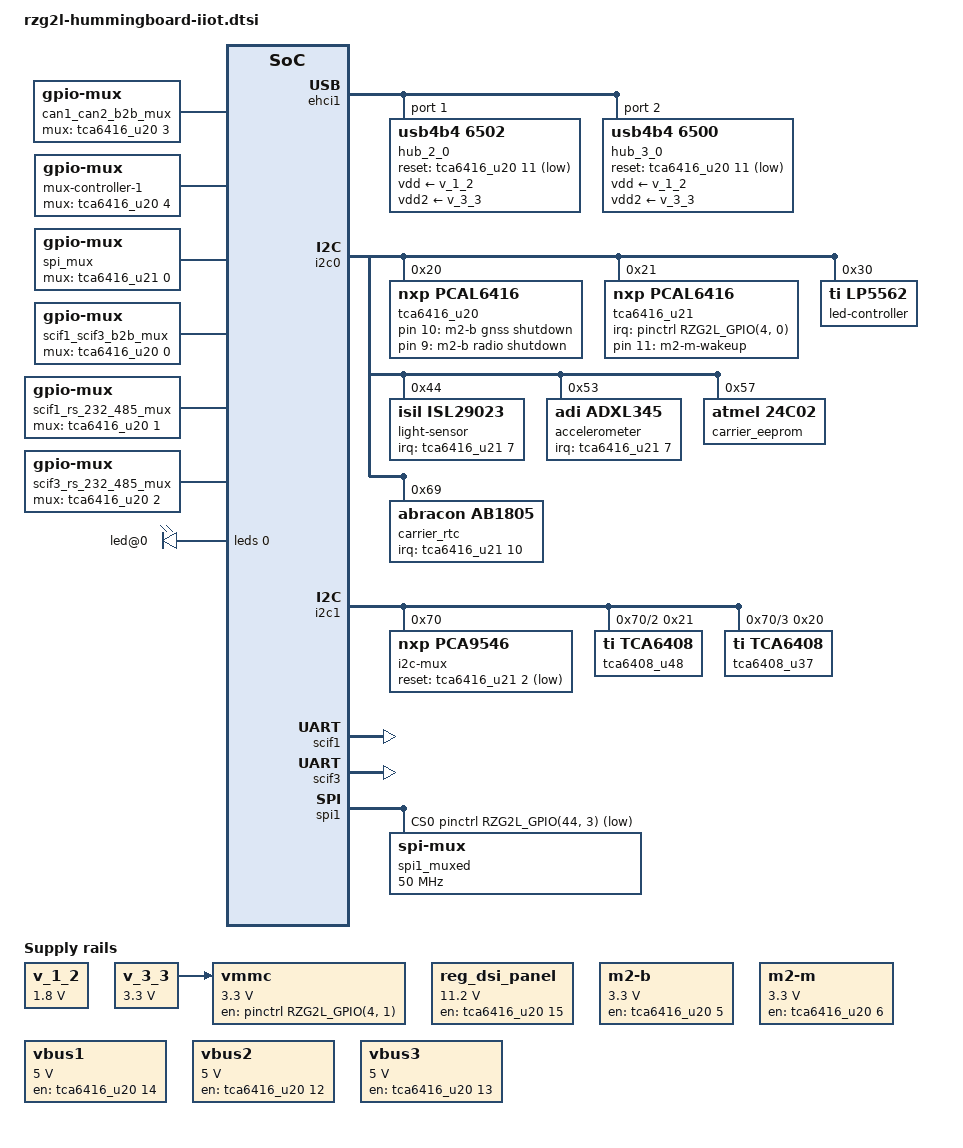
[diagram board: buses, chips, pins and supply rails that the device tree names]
// SPDX-License-Identifier: (GPL-2.0-only OR BSD-2-Clause)
/*
 * Copyright 2025 Josua Mayer <josua@solid-run.com>
 */

#include <dt-bindings/input/input.h>
#include <dt-bindings/leds/common.h>

/ {
	aliases {
		rtc0 = &carrier_rtc;
		rtc1 = &pmic;
                serial3 = &scif3;
		gpio1 = &tca6408_u48;
		gpio2 = &tca6408_u37;
		gpio3 = &tca6416_u20;
		gpio4 = &tca6416_u21;
		i2c3 = &i2c_exp;
		i2c4 = &i2c_csi;
		i2c5 = &i2c_dsi;
		i2c6 = &i2c_lvds;
	};

	v_1_2: regulator-1-2 {
		compatible = "regulator-fixed";
		regulator-name = "1v2";
		regulator-min-microvolt = <1800000>;
		regulator-max-microvolt = <1800000>;
	};

	v_3_3: regulator-3-3 {
		compatible = "regulator-fixed";
		regulator-name = "3v3";
		regulator-min-microvolt = <3300000>;
		regulator-max-microvolt = <3300000>;
	};

	reg_dsi_panel: regulator-dsi-panel {
		compatible = "regulator-fixed";
		regulator-name = "dsi-panel";
		regulator-min-microvolt = <11200000>;
		regulator-max-microvolt = <11200000>;
		gpios = <&tca6416_u20 15 GPIO_ACTIVE_HIGH>;
		enable-active-high;
	};

	/* power for M.2 B-Key connector (J6) */
	regulator-m2-b {
		compatible = "regulator-fixed";
		regulator-name = "m2-b";
		regulator-min-microvolt = <3300000>;
		regulator-max-microvolt = <3300000>;
		gpios = <&tca6416_u20 5 GPIO_ACTIVE_HIGH>;
		enable-active-high;
		regulator-always-on;
	};

	/* power for M.2 M-Key connector (J4) */
	regulator-m2-m {
		compatible = "regulator-fixed";
		regulator-name = "m2-m";
		regulator-min-microvolt = <3300000>;
		regulator-max-microvolt = <3300000>;
		gpios = <&tca6416_u20 6 GPIO_ACTIVE_HIGH>;
		enable-active-high;
		regulator-always-on;
	};

	vmmc: regulator-mmc {
		compatible = "regulator-fixed";
		regulator-name = "vmmc";
		vin-supply = <&v_3_3>;
		regulator-min-microvolt = <3300000>;
		regulator-max-microvolt = <3300000>;
		gpio = <&pinctrl RZG2L_GPIO(4, 1) GPIO_ACTIVE_LOW>;
		enable-active-high;
		startup-delay-us = <250>;
	};

	/* power for USB-A J5003 */
	vbus1: regulator-vbus-1 {
		compatible = "regulator-fixed";
		regulator-name = "vbus1";
		gpio = <&tca6416_u20 14 GPIO_ACTIVE_HIGH>;
		enable-active-high;
		regulator-min-microvolt = <5000000>;
		regulator-max-microvolt = <5000000>;
	};

	/* power for USB-A J27 behind USB Hub Port 3 */
	regulator-vbus-2 {
		compatible = "regulator-fixed";
		regulator-name = "vbus2";
		gpio = <&tca6416_u20 12 GPIO_ACTIVE_HIGH>;
		enable-active-high;
		regulator-min-microvolt = <5000000>;
		regulator-max-microvolt = <5000000>;
		regulator-always-on;
	};

	/* power for USB-A J27 behind USB Hub Port 4 */
	regulator-vbus-3 {
		compatible = "regulator-fixed";
		regulator-name = "vbus3";
		gpio = <&tca6416_u20 13 GPIO_ACTIVE_HIGH>;
		enable-active-high;
		regulator-min-microvolt = <5000000>;
		regulator-max-microvolt = <5000000>;
		regulator-always-on;
	};

	rfkill-m2-b-gnss {
		compatible = "rfkill-gpio";
		label = "m2-b gnss";
		radio-type = "gps";
		/* rfkill-gpio inverts internally */
		shutdown-gpios = <&tca6416_u20 10 GPIO_ACTIVE_HIGH>;
	};

	rfkill-m2-b-wwan {
		compatible = "rfkill-gpio";
		label = "m2-b radio";
		radio-type = "wwan";
		/* rfkill-gpio inverts internally */
		shutdown-gpios = <&tca6416_u20 9 GPIO_ACTIVE_HIGH>;
	};

	can1_can2_b2b_mux: mux-controller-0 {
		compatible = "gpio-mux";
		#mux-control-cells = <0>;
		/*
		 * Mux switches both can1 and can2 tx/rx between
		 * expansion connector (J22) and on-board transceivers
		 * using one GPIO: 0 = on-board, 1 connector.
		 */
		mux-gpios = <&tca6416_u20 3 GPIO_ACTIVE_HIGH>;
		/* default on-board */
		idle-state = <0>;
	};

	mux-controller-1 {
		compatible = "gpio-mux";
		#mux-control-cells = <0>;
		/*
		 * Mux switches can bus between different SoM board-to-board
		 * connector pins which is used to support different SoMs.
		 * i.MX8M Plus uses J7-12/16 and J9-54/56 for 2x flexcan.
		 */
		mux-gpios = <&tca6416_u20 4 GPIO_ACTIVE_HIGH>;
		idle-state = <1>;
	};

	spi_mux: mux-controller-2 {
		compatible = "gpio-mux";
		#mux-control-cells = <0>;
		/*
		 * Mux switches spi bus between on-board tpm
		 * and expansion connector (J22).
		 */
		mux-gpios = <&tca6416_u21 0 GPIO_ACTIVE_HIGH>;
		/* default on-board */
		idle-state = <0>;
	};

	scif1_scif3_b2b_mux: mux-controller-3 {
		compatible = "gpio-mux";
		#mux-control-cells = <0>;
		/*
		 * Mux switches both scif1 and scif3 tx/rx between expansion
		 * connector (J22) and on-board rs232/rs485 transceivers
		 * using one GPIO: 0 = on-board, 1 connector.
		 */
		mux-gpios = <&tca6416_u20 0 GPIO_ACTIVE_HIGH>;
		/* default on-board */
		idle-state = <0>;
	};

	scif1_rs_232_485_mux: mux-controller-4 {
		compatible = "gpio-mux";
		#mux-control-cells = <0>;
		/*
		 * Mux switches scif1 tx/rx between rs232 and rs485
		 * transceivers. using one GPIO: 0 = rs232; 1 = rs485.
		 */
		mux-gpios = <&tca6416_u20 1 GPIO_ACTIVE_HIGH>;
		/* default rs232 */
		idle-state = <0>;
	};

	scif3_rs_232_485_mux: mux-controller-5 {
		compatible = "gpio-mux";
		#mux-control-cells = <0>;
		/*
		 * Mux switches scif3 tx/rx between rs232 and rs485
		 * transceivers. using one GPIO: 0 = rs232; 1 = rs485.
		 */
		mux-gpios = <&tca6416_u20 2 GPIO_ACTIVE_HIGH>;
		/* default rs232 */
		idle-state = <0>;
	};

	gpio-keys {
		compatible = "gpio-keys";

		wakeup-event {
			label = "m2-m-wakeup";
			interrupts-extended = <&tca6416_u21 11 IRQ_TYPE_EDGE_FALLING>;
			linux,code = <KEY_WAKEUP>;
			wakeup-source;
		};
	};
};

&ehci1 {
	#address-cells = <1>;
	#size-cells = <0>;

	hub_2_0: hub@1 {
		compatible = "usb4b4,6502", "usb4b4,6506";
		reg = <1>;
		peer-hub = <&hub_3_0>;
		reset-gpios = <&tca6416_u20 11 GPIO_ACTIVE_LOW>;
		vdd-supply = <&v_1_2>;
		vdd2-supply = <&v_3_3>;
	};

	/* this device is not visible because host supports 2.0 only */
	hub_3_0: hub@2 {
		compatible = "usb4b4,6500", "usb4b4,6504";
		reg = <2>;
		peer-hub = <&hub_2_0>;
		reset-gpios = <&tca6416_u20 11 GPIO_ACTIVE_LOW>;
		vdd-supply = <&v_1_2>;
		vdd2-supply = <&v_3_3>;
	};
};

&i2c0 {
	/* highest i2c clock supported by all peripherals is 400kHz */

	tca6416_u20: gpio@20 {
		/*
		 * This is a TI TCAL6416 using same programming model as
		 * NXP PCAL6416, not to be confused with TI TCA6416.
		 */
		compatible = "nxp,pcal6416";
		reg = <0x20>;
		gpio-controller;
		#gpio-cells = <2>;
		gpio-line-names = "TCA_INT/EXT_UART", "TCA_UARTA_232/485",
				  "TCA_UARTB_232/485", "TCA_INT/EXT_CAN",
				  "TCA_NXP/REN", "TCA_M.2B_3V3_EN",
				  "TCA_M.2M_3V3_EN", "TCA_M.2M_RESET#",
				  "TCA_M.2B_RESET#", "TCA_M.2B_W_DIS#",
				  "TCA_M.2B_GPS_EN#", "TCA_USB-HUB_RST#",
				  "TCA_USB_HUB3_PWR_EN", "TCA_USB_HUB4_PWR_EN",
				  "TCA_USB1_PWR_EN", "TCA_VIDEO_PWR_EN";

		m2-m-reset-hog {
			gpio-hog;
			gpios = <7 GPIO_ACTIVE_LOW>;
			/*
			 * M.2 Key-M connector only supports PCI,
			 * but RZ/G2L(C) has no pci controller.
			 * Keep any card in reset.
			 */
			output-high;
			line-name = "m2-m-reset";
		};

		m2-b-reset-hog {
			gpio-hog;
			gpios = <8 GPIO_ACTIVE_LOW>;
			output-low;
			line-name = "m2-b-reset";
		};
	};

	tca6416_u21: gpio@21 {
		/*
		 * This is a TI TCAL6416 using same programming model as
		 * NXP PCAL6416, not to be confused with TI TCA6416.
		 */
		compatible = "nxp,pcal6416";
		reg = <0x21>;
		gpio-controller;
		#gpio-cells = <2>;
		interrupt-controller;
		#interrupt-cells = <2>;
		interrupts-extended = <&pinctrl RZG2L_GPIO(4, 0) IRQ_TYPE_LEVEL_LOW>;
		gpio-line-names = "TCA_SPI_TPM/EXT", "TCA_TPM_RST#",
				  "TCA_I2C_RST", "TCA_RS232_SHTD#",
				  "TCA_LCD_I2C_RST", "TCA_DIG_OUT1",
				  "TCA_bDIG_IN1", "TCA_SENS_INT",
				  "TCA_ALERT#", "TCA_TPM_PIRQ#",
				  "TCA_RTC_INT", "TCA_M.2M_WAKW_ON_LAN",
				  "TCA_M.2M_CLKREQ#", "TCA_LVDS_INT#",
				  "", "TCA_POE_AT";

		rs232_shutdown: rs232-shutdown-hog {
			gpio-hog;
			gpios = <3 GPIO_ACTIVE_LOW>;
			output-low;
			line-name = "rs232-shutdown";
		};

		lcd-i2c-reset-hog {
			/*
			 * reset shared between U37 and U48, to be
			 * supported once gpio-pca953x switches to
			 * reset framework.
			 */
			gpio-hog;
			gpios = <4 (GPIO_ACTIVE_LOW|GPIO_PULL_UP|GPIO_OPEN_DRAIN)>;
			output-low;
			line-name = "lcd-i2c-reset";
		};

		lvds-irq-hog {
			gpio-hog;
			gpios = <13 (GPIO_ACTIVE_LOW | GPIO_PULL_UP | GPIO_OPEN_DRAIN)>;
			input;
			line-name = "lvds-irq";
		};

		m2-m-clkreq-hog {
			gpio-hog;
			gpios = <12 GPIO_ACTIVE_LOW>;
			input;
			line-name = "m2-m-clkreq";
		};

		sensor-irq-hog {
			gpio-hog;
			gpios = <7 (GPIO_ACTIVE_LOW | GPIO_PULL_UP | GPIO_OPEN_DRAIN)>;
			input;
			line-name = "sensor-irq";
		};

		tpm-irq-hog {
			gpio-hog;
			gpios = <9 (GPIO_ACTIVE_LOW | GPIO_PULL_UP | GPIO_OPEN_DRAIN)>;
			input;
			line-name = "tpm-irq";
		};
	};

	led-controller@30 {
		compatible = "ti,lp5562";
		reg = <0x30>;
		/* use internal clock, could use external generated by rtc */
		clock-mode = /bits/ 8 <1>;
		#address-cells = <1>;
		#size-cells = <0>;

		multi-led@0 {
			reg = <0x0>;
			label = "D7";
			color = <LED_COLOR_ID_RGB>;
			#address-cells = <1>;
			#size-cells = <0>;

			led@0 {
				reg = <0x0>;
				color = <LED_COLOR_ID_RED>;
				led-cur = /bits/ 8 <0x32>;
				max-cur = /bits/ 8 <0x64>;
				chan-name = "D7";
			};

			led@1 {
				reg = <0x1>;
				color = <LED_COLOR_ID_GREEN>;
				led-cur = /bits/ 8 <0x19>;
				max-cur = /bits/ 8 <0x32>;
				chan-name = "D7";
			};

			led@2 {
				reg = <0x2>;
				color = <LED_COLOR_ID_BLUE>;
				led-cur = /bits/ 8 <0x19>;
				max-cur = /bits/ 8 <0x32>;
				chan-name = "D7";
			};
		};

		led@3 {
			reg = <3>;
			chan-name = "D8";
			label = "D8";
			color = <LED_COLOR_ID_GREEN>;
			led-cur = /bits/ 8 <0x19>;
			max-cur = /bits/ 8 <0x64>;
		};
	};

	light-sensor@44 {
		compatible = "isil,isl29023";
		reg = <0x44>;
		/* IRQ shared between accelerometer, light-sensor and Tamper input (J5007) */
		interrupts-extended = <&tca6416_u21 7 IRQ_TYPE_EDGE_FALLING>;
	};

	accelerometer@53 {
		compatible = "adi,adxl345";
		reg = <0x53>;
		/* IRQ shared between accelerometer, light-sensor and Tamper input (J5007) */
		interrupt-names = "INT1";
		interrupts-extended = <&tca6416_u21 7 IRQ_TYPE_EDGE_FALLING>;
	};

	carrier_eeprom: eeprom@57{
		compatible = "atmel,24c02";
		reg = <0x57>;
		pagesize = <8>;
	};

	carrier_rtc: rtc@69 {
		compatible = "abracon,ab1805";
		reg = <0x69>;
		abracon,tc-diode = "schottky";
		abracon,tc-resistor = <3>;
		interrupts-extended = <&tca6416_u21 10 IRQ_TYPE_EDGE_FALLING>;
	};
};

&i2c1 {
	/* highest i2c clock supported by all peripherals is 400kHz */

	i2c-mux@70 {
		compatible = "nxp,pca9546";
		reg = <0x70>;
		/*
		 * This reset is open drain,
		 * but reset core does not support GPIO_OPEN_DRAIN flag.
		 */
		reset-gpios = <&tca6416_u21 2 GPIO_ACTIVE_LOW>;
		#address-cells = <1>;
		#size-cells = <0>;

		/* channel 0 routed to expansion connector (J22) */
		i2c_exp: i2c@0 {
			reg = <0>;
			#address-cells = <1>;
			#size-cells = <0>;
		};

		/* channel 1 routed to mipi-csi connector (J23) */
		i2c_csi: i2c@1 {
			reg = <1>;
			#address-cells = <1>;
			#size-cells = <0>;
		};

		/* channel 2 routed to mipi-dsi connector (J25) */
		i2c_dsi: i2c@2 {
			reg = <2>;
			#address-cells = <1>;
			#size-cells = <0>;

			tca6408_u48: gpio@21 {
				compatible = "ti,tca6408";
				reg = <0x21>;
				/*
				 * reset shared between U37 and U48, to be
				 * supported once gpio-pca953x switches to
				 * reset framework.
				 *
				 * reset-gpios = <&tca6416_u21 4 (GPIO_ACTIVE_LOW|GPIO_PULL_UP|GPIO_OPEN_DRAIN)>;
				 */
				gpio-controller;
				#gpio-cells = <2>;
				gpio-line-names = "CAM_RST#", "DSI_RESET",
						  "DSI_STBYB", "DSI_PWM_BL",
						  "DSI_L/R", "DSI_U/D",
						  "DSI_CTP_/RST", "CAM_TRIG";
			};
		};

		/* channel 2 routed to lvds connector (J24) */
		i2c_lvds: i2c@3 {
			reg = <3>;
			#address-cells = <1>;
			#size-cells = <0>;

			tca6408_u37: gpio@20 {
				compatible = "ti,tca6408";
				reg = <0x20>;
				/*
				 * reset shared between U37 and U48, to be
				 * supported once gpio-pca953x switches to
				 * reset framework.
				 *
				 * reset-gpios = <&tca6416_u21 4 (GPIO_ACTIVE_LOW|GPIO_PULL_UP|GPIO_OPEN_DRAIN)>;
				 */
				gpio-controller;
				#gpio-cells = <2>;
				gpio-line-names = "SELB", "LVDS_RESET",
						  "LVDS_STBYB", "LVDS_PWM_BL",
						  "LVDS_L/R", "LVDS_U/D",
						  "LVDS_CTP_/RST", "";
			};
		};
	};
};

&phy0 {
	leds {
		#address-cells = <1>;
		#size-cells = <0>;

		/* LED_0 pin */
		led@0 {
			reg = <0>;
			color = <LED_COLOR_ID_GREEN>;
			function = LED_FUNCTION_LAN;
			default-state = "keep";
		};
	};
};

&pinctrl {
	/* UARTA */
	scif1_pins: scif1 {
		pinmux = <RZG2L_PORT_PINMUX(40, 1, 1)>, /* SCIF1_RXD */
			 <RZG2L_PORT_PINMUX(40, 0, 1)>; /* SCIF1_TXD */
	};

	/* UARTA_RTS */
	scif1_rts_pins: scif1-rts {
		pinmux = <RZG2L_PORT_PINMUX(41, 1, 0)>; /* P41_1 */
	};

	/* UARTB */
	scif3_pins: scif3 {
		pinmux = <RZG2L_PORT_PINMUX(0, 1, 5)>, /* SCIF3_RXD */
			 <RZG2L_PORT_PINMUX(0, 0, 5)>; /* SCIF3_TXD */
	};

	/* UARTB_RTS */
	scif3_rts_pins: scif3-rts {
		pinmux = <RZG2L_PORT_PINMUX(41, 0, 0)>; /* P41_0 */
	};
};

&scif1 {
	pinctrl-names = "default";
	pinctrl-0 = <&scif1_pins>;
	status = "okay";
};

&scif3 {
	pinctrl-names = "default";
	pinctrl-0 = <&scif3_pins>;
	status = "okay";
};

&spi1 {
	num-cs = <1>;
	pinctrl-names = "default";
	pinctrl-0 = <&spi1_pins>;
	/* native cs does not support cs persistence required for tpm */
	cs-gpios = <&pinctrl RZG2L_GPIO(44, 3) GPIO_ACTIVE_LOW>;
	status = "okay";

	spi1_muxed: spi@0 {
		compatible = "spi-mux";
		reg = <0>;
		#address-cells = <1>;
		#size-cells = <0>;
		/* mux bandwidth is 2GHz, soc max. spi clock is P0/2 = 50MHz */
		spi-max-frequency = <50000000>;
		mux-controls = <&spi_mux>;

		tpm@0 {
			compatible = "infineon,slb9670", "tcg,tpm_tis-spi";
			reg = <0>;
			spi-max-frequency = <43000000>;
			reset-gpios = <&tca6416_u21 1 (GPIO_ACTIVE_LOW | GPIO_OPEN_DRAIN)>;
			interrupts-extended = <&tca6416_u21 9 IRQ_TYPE_LEVEL_LOW>;
		};
	};
};

&usb2_phy0 {
	vbus-supply = <&vbus1>;
	dr_mode = "host";
};

&usb2_phy1 {
	dr_mode = "host";
};
